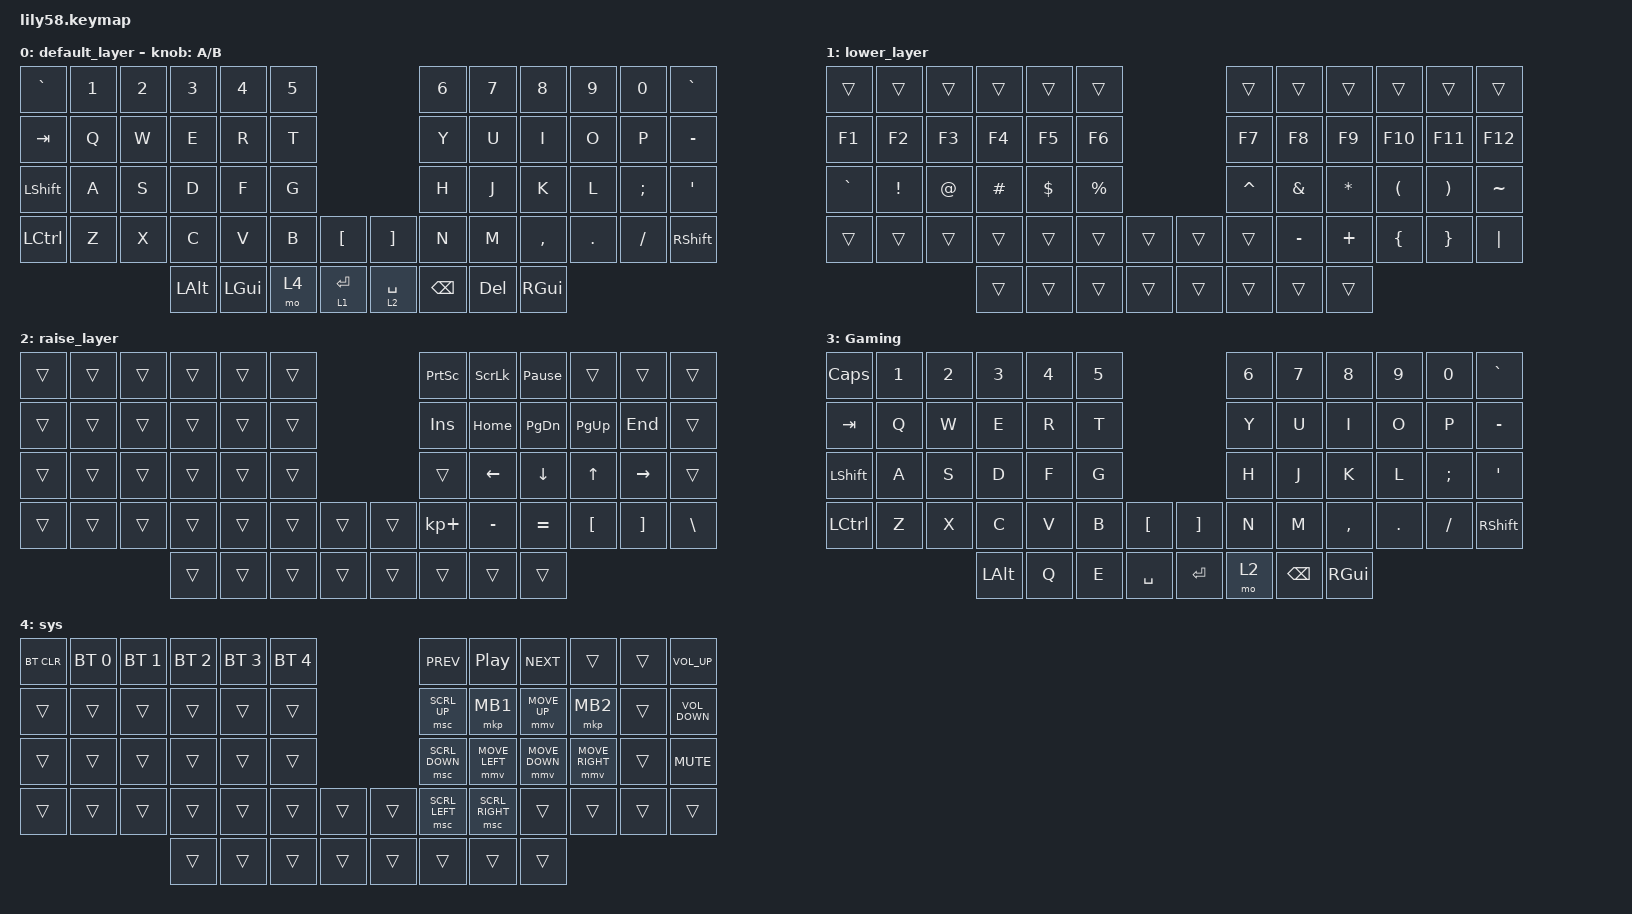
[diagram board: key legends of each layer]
/*
 * Copyright (c) 2020 The ZMK Contributors
 *
 * SPDX-License-Identifier: MIT
 */

#include <behaviors.dtsi>
#include <dt-bindings/zmk/bt.h>
#include <dt-bindings/zmk/keys.h>
#include <dt-bindings/zmk/pointing.h>

/ {
    combos {
        compatible = "zmk,combos";

        escape {
            bindings = <&kp ESC>;
            key-positions = <0 1>;
            layers = <3>;
        };

        GamingLayer {
            bindings = <&tog 3>;
            key-positions = <11 23 35 49>;
            layers = <3 0>;
        };
    };

    keymap {
        compatible = "zmk,keymap";

        default_layer {
            // ------------------------------------------------------------------------------------------------------------
            // |  ESC  |  1  |  2  |  3   |  4   |  5   |                   |  6   |  7    |  8    |  9   |   0   |   `   |
            // |  TAB  |  Q  |  W  |  E   |  R   |  T   |                   |  Y   |  U    |  I    |  O   |   P   |   -   |
            // |  CTRL |  A  |  S  |  D   |  F   |  G   |                   |  H   |  J    |  K    |  L   |   ;   |   '   |
            // | SHIFT |  Z  |  X  |  C   |  V   |  B   |   "["  |  |  "]"  |  N   |  M    |  ,    |  .   |   /   | SHIFT |
            //                     | ALT  | GUI  | LOWER|  SPACE |  | ENTER | RAISE| BSPC  | GUI   |

            bindings = <
&kp GRAVE         &kp N1  &kp N2  &kp N3    &kp N4    &kp N5                            &kp N6         &kp N7      &kp N8     &kp N9   &kp N0    &kp GRAVE
&kp TAB           &kp Q   &kp W   &kp E     &kp R     &kp T                             &kp Y          &kp U       &kp I      &kp O    &kp P     &kp MINUS
&kp LEFT_SHIFT    &kp A   &kp S   &kp D     &kp F     &kp G                             &kp H          &kp J       &kp K      &kp L    &kp SEMI  &kp SQT
&kp LEFT_CONTROL  &kp Z   &kp X   &kp C     &kp V     &kp B   &kp LBKT     &kp RBKT     &kp N          &kp M       &kp COMMA  &kp DOT  &kp FSLH  &kp RSHFT
                                  &kp LALT  &kp LGUI  &mo 4   &lt 1 RET    &lt 2 SPACE  &kp BACKSPACE  &kp DELETE  &kp RGUI
            >;

            sensor-bindings = <&inc_dec_kp A B>;
        };

        lower_layer {
            // ------------------------------------------------------------------------------------------------------------
            // | BTCLR | BT1 | BT2 |  BT3 |  BT4 |  BT5 |                   |      |       |       |      |       |       |
            // |  F1   |  F2 |  F3 |  F4  |  F5  |  F6  |                   |  F7  |  F8   |  F9   |  F10 |  F11  |  F12  |
            // |   `   |  !  |  @  |  #   |  $   |  %   |                   |  ^   |  &    |  *    |  (   |   )   |   ~   |
            // |       |     |     |      |      |      |        |  |       |      |  _    |  +    |  {   |   }   |  "|"  |
            //                     |      |      |      |        |  |       |      |       |       |

            bindings = <
&trans     &trans    &trans  &trans    &trans      &trans                       &trans     &trans     &trans     &trans    &trans    &trans
&kp F1     &kp F2    &kp F3  &kp F4    &kp F5      &kp F6                       &kp F7     &kp F8     &kp F9     &kp F10   &kp F11   &kp F12
&kp GRAVE  &kp EXCL  &kp AT  &kp HASH  &kp DOLLAR  &kp PRCNT                    &kp CARET  &kp AMPS   &kp ASTRK  &kp LPAR  &kp RPAR  &kp TILDE
&trans     &trans    &trans  &trans    &trans      &trans     &trans    &trans  &trans     &kp MINUS  &kp PLUS   &kp LBRC  &kp RBRC  &kp PIPE
                             &trans    &trans      &trans     &trans    &trans  &trans     &trans     &trans
            >;
        };

        raise_layer {
            // ------------------------------------------------------------------------------------------------------------
            // |       |     |     |      |      |      |                   |      |       |       |      |       |       |
            // |   `   |  1  |  2  |  3   |  4   |  5   |                   |  6   |   7   |   8   |  9   |   0   |       |
            // |   F1  |  F2 |  F3 |  F4  |  F5  |  F6  |                   |      |   <-  |   v   |  ^   |  ->   |       |
            // |   F7  |  F8 |  F9 |  F10 |  F11 |  F12 |        |  |       |  +   |   -   |   =   |  [   |   ]   |   \   |
            //                     |      |      |      |        |  |       |      |       |       |

            bindings = <
&trans  &trans  &trans  &trans  &trans  &trans                    &kp PRINTSCREEN  &kp SCROLLLOCK  &kp PAUSE_BREAK  &trans       &trans     &trans
&trans  &trans  &trans  &trans  &trans  &trans                    &kp INSERT       &kp HOME        &kp PAGE_DOWN    &kp PAGE_UP  &kp END    &trans
&trans  &trans  &trans  &trans  &trans  &trans                    &trans           &kp LEFT        &kp DOWN         &kp UP       &kp RIGHT  &trans
&trans  &trans  &trans  &trans  &trans  &trans  &trans    &trans  &kp KP_PLUS      &kp MINUS       &kp EQUAL        &kp LBKT     &kp RBKT   &kp BSLH
                        &trans  &trans  &trans  &trans    &trans  &trans           &trans          &trans
            >;
        };

        Gaming {
            bindings = <
&kp CAPSLOCK      &kp N1  &kp N2  &kp N3    &kp N4  &kp N5                         &kp N6  &kp N7    &kp N8     &kp N9   &kp N0    &kp GRAVE
&kp TAB           &kp Q   &kp W   &kp E     &kp R   &kp T                          &kp Y   &kp U     &kp I      &kp O    &kp P     &kp MINUS
&kp LSHIFT        &kp A   &kp S   &kp D     &kp F   &kp G                          &kp H   &kp J     &kp K      &kp L    &kp SEMI  &kp SQT
&kp LEFT_CONTROL  &kp Z   &kp X   &kp C     &kp V   &kp B   &kp LBKT     &kp RBKT  &kp N   &kp M     &kp COMMA  &kp DOT  &kp FSLH  &kp RSHFT
                                  &kp LALT  &kp Q   &kp E   &kp SPACE    &kp RET   &mo 2   &kp BSPC  &kp RGUI
            >;
        };

        System {
            bindings = <
&bt BT_CLR  &bt BT_SEL 0  &bt BT_SEL 1  &bt BT_SEL 2  &bt BT_SEL 3  &bt BT_SEL 4                    &kp C_PREV      &kp C_PLAY_PAUSE  &kp C_NEXT      &trans           &trans  &kp C_VOL_UP
&trans      &trans        &trans        &trans        &trans        &trans                          &msc SCRL_UP    &mkp MB1          &mmv MOVE_UP    &mkp MB2         &trans  &kp C_VOLUME_DOWN
&trans      &trans        &trans        &trans        &trans        &trans                          &msc SCRL_DOWN  &mmv MOVE_LEFT    &mmv MOVE_DOWN  &mmv MOVE_RIGHT  &trans  &kp C_MUTE
&trans      &trans        &trans        &trans        &trans        &trans        &trans    &trans  &msc SCRL_LEFT  &msc SCRL_RIGHT   &trans          &trans           &trans  &trans
                                        &trans        &trans        &trans        &trans    &trans  &trans          &trans            &trans
            >;

            label = "sys";
        };
    };
};
